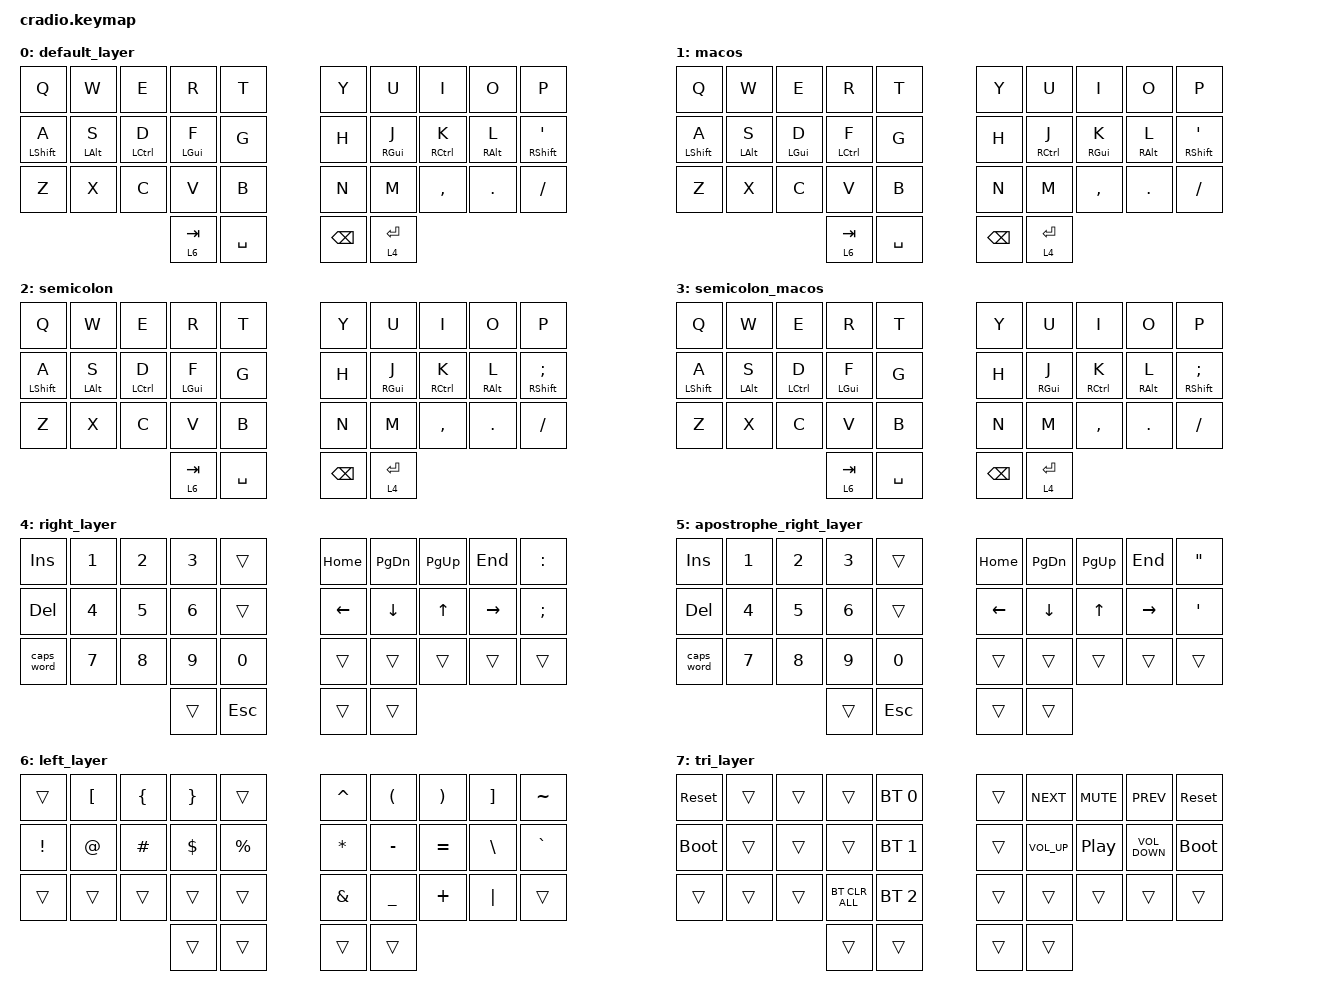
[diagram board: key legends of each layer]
// Copyright (c) 2022 The ZMK Contributors
// SPDX-License-Identifier: MIT

#include <behaviors.dtsi>
#include <dt-bindings/zmk/bt.h>
#include <dt-bindings/zmk/keys.h>

// Home row mods macro
// #define HRML(k1,k2,k3,k4) &ht LSHFT k1  &ht LALT k2  &ht LCTRL k3  &ht LGUI k4
// #define HRMR(k1,k2,k3,k4) &ht RGUI k1  &ht RCTRL k2  &ht RALT k3  &ht RSHFT k4

/ {
    behaviors {
        ht: hold_tap {
            compatible = "zmk,behavior-hold-tap";
            #binding-cells = <2>;
            flavor = "tap-preferred";
            tapping-term-ms = <220>;
            quick-tap-ms = <150>;
            require-prior-idle-ms = <100>;
            bindings = <&kp>, <&kp>;
        };
    };

    conditional_layers {
        compatible = "zmk,conditional-layers";

        tri_layer {
            if-layers = <4 6>;
            then-layer = <7>;
        };

        apostrophe_right_layer {
            if-layers = <2 4>;
            then-layer = <5>;
        };
    };

    combos {
        compatible = "zmk,combos";

        semicolon_toggle {
            bindings = <&tog 2>;
            key-positions = <0 9>;
            layers = <0 2>;
        };

        mac_toggle {
            bindings = <&tog 1>;
            key-positions = <20 29>;
            layers = <0 2 3>;
        };

        mac_semicolon_toggle {
            bindings = <&tog 3>;
            key-positions = <0 9>;
            layers = <1 3>;
        };
    };

    keymap {
        compatible = "zmk,keymap";

        default_layer {
            bindings = <
&kp Q        &kp W       &kp E        &kp R       &kp T        &kp Y     &kp U        &kp I        &kp O       &kp P
&ht LSHFT A  &ht LALT S  &ht LCTRL D  &ht LGUI F  &kp G        &kp H     &ht RGUI J   &ht RCTRL K  &ht RALT L  &ht RSHFT SQT
&kp Z        &kp X       &kp C        &kp V       &kp B        &kp N     &kp M        &kp COMMA    &kp DOT     &kp FSLH
                                      &lt 6 TAB   &kp SPACE    &kp BSPC  &lt 4 ENTER
            >;
        };

        macos {
            bindings = <
&kp Q        &kp W       &kp E       &kp R               &kp T        &kp Y     &kp U                &kp I       &kp O       &kp P
&ht LSHFT A  &ht LALT S  &ht LGUI D  &ht LEFT_CONTROL F  &kp G        &kp H     &ht RIGHT_CONTROL J  &ht RGUI K  &ht RALT L  &ht RSHFT SQT
&kp Z        &kp X       &kp C       &kp V               &kp B        &kp N     &kp M                &kp COMMA   &kp DOT     &kp FSLH
                                     &lt 6 TAB           &kp SPACE    &kp BSPC  &lt 4 ENTER
            >;
        };

        semicolon {
            bindings = <
&kp Q        &kp W       &kp E        &kp R       &kp T        &kp Y     &kp U        &kp I        &kp O       &kp P
&ht LSHFT A  &ht LALT S  &ht LCTRL D  &ht LGUI F  &kp G        &kp H     &ht RGUI J   &ht RCTRL K  &ht RALT L  &ht RSHFT SEMI
&kp Z        &kp X       &kp C        &kp V       &kp B        &kp N     &kp M        &kp COMMA    &kp DOT     &kp FSLH
                                      &lt 6 TAB   &kp SPACE    &kp BSPC  &lt 4 ENTER
            >;
        };

        semicolon_macos {
            bindings = <
&kp Q        &kp W       &kp E        &kp R       &kp T        &kp Y     &kp U        &kp I        &kp O       &kp P
&ht LSHFT A  &ht LALT S  &ht LCTRL D  &ht LGUI F  &kp G        &kp H     &ht RGUI J   &ht RCTRL K  &ht RALT L  &ht RSHFT SEMI
&kp Z        &kp X       &kp C        &kp V       &kp B        &kp N     &kp M        &kp COMMA    &kp DOT     &kp FSLH
                                      &lt 6 TAB   &kp SPACE    &kp BSPC  &lt 4 ENTER
            >;
        };

        right_layer {
            bindings = <
&kp INS     &kp N1  &kp N2  &kp N3  &trans     &kp HOME  &kp PG_DN  &kp PG_UP  &kp END    &kp COLON
&kp DEL     &kp N4  &kp N5  &kp N6  &trans     &kp LEFT  &kp DOWN   &kp UP     &kp RIGHT  &kp SEMI
&caps_word  &kp N7  &kp N8  &kp N9  &kp N0     &trans    &trans     &trans     &trans     &trans
                            &trans  &kp ESC    &trans    &trans
            >;
        };

        apostrophe_right_layer {
            bindings = <
&kp INS     &kp N1  &kp N2  &kp N3  &trans     &kp HOME  &kp PG_DN  &kp PG_UP  &kp END    &kp DOUBLE_QUOTES
&kp DEL     &kp N4  &kp N5  &kp N6  &trans     &kp LEFT  &kp DOWN   &kp UP     &kp RIGHT  &kp SINGLE_QUOTE
&caps_word  &kp N7  &kp N8  &kp N9  &kp N0     &trans    &trans     &trans     &trans     &trans
                            &trans  &kp ESC    &trans    &trans
            >;
        };

        left_layer {
            bindings = <
&trans    &kp LBKT  &kp LBRC  &kp RBRC  &trans       &kp CARET  &kp LPAR   &kp RPAR   &kp RBKT  &kp TILDE
&kp EXCL  &kp AT    &kp HASH  &kp DLLR  &kp PRCNT    &kp ASTRK  &kp MINUS  &kp EQUAL  &kp BSLH  &kp GRAVE
&trans    &trans    &trans    &trans    &trans       &kp AMPS   &kp UNDER  &kp PLUS   &kp PIPE  &trans
                              &trans    &trans       &trans     &trans
            >;
        };

        tri_layer {
            bindings = <
&sys_reset   &trans  &trans  &trans          &bt BT_SEL 0    &trans  &kp C_NEXT       &kp C_MUTE  &kp C_PREV         &sys_reset
&bootloader  &trans  &trans  &trans          &bt BT_SEL 1    &trans  &kp C_VOLUME_UP  &kp C_PP    &kp C_VOLUME_DOWN  &bootloader
&trans       &trans  &trans  &bt BT_CLR_ALL  &bt BT_SEL 2    &trans  &trans           &trans      &trans             &trans
                             &trans          &trans          &trans  &trans
            >;
        };
    };
};
